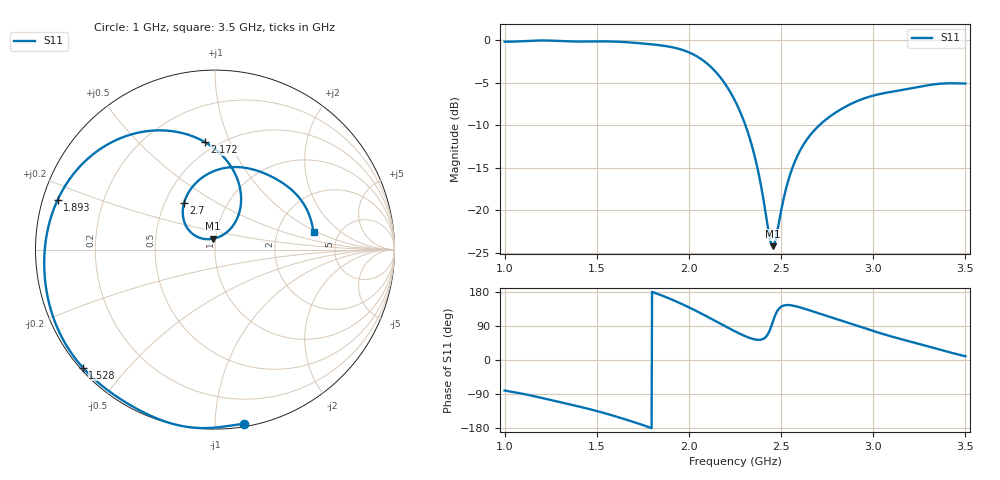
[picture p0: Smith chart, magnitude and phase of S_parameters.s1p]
! TOUCHSTONE file generated by CST MICROWAVE STUDIO
! Date and time: Wed Oct  7 17:58:07 2026
! Project name: antenna.cst
! Parameters = {substrate_tand=0.02; substrate_er=4.4; gap_mm=5; feed_start_x=24.3; series_c_pf=1.8; omit_soldermask=1; coax_pigtail=1; feed_contact_inside=1; explicit_via_pads=1; feed_x=24.85; copper_edge_clearance=0.3; housing_air=0.25; housing_wall=1; shield_extension=0; via_plating_t=0.025; via_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
! Header version: 2024
! Port assignment regex: !\s*Touchstone port\s*([0-9]+)\s*=\s*(CST MWS port|CST DES external port|CST DES block port)\s*(.+)\s* \(\"(.*)\"\)(\s*mode\s*([0-9]+))?.*
! Touchstone port assignment:
! Touchstone port 1 = CST MWS port 1 ("50 ohm edge launch reference")
# GHz S MA R 50
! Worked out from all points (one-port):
!   1001 points, 1 GHz to 3.5 GHz, reference 50 ohm
!   lowest |S11| = -24.3 dB at 2.455 GHz (marker M1), VSWR 1.13, Z = 48.5 + j5.87 ohm
!   |S11| at or under -10 dB: 2.307 GHz to 2.707 GHz (400.7 MHz wide, 16 % of centre)
!   S11 on the Smith chart (normalised r, x): 1 GHz: 0.02, -1.18; 1.528 GHz: 0.01, -0.38; 1.893 GHz: 0.04, +0.15; 2.172 GHz: 0.43, +0.81; 2.7 GHz: 0.63, +0.36; 3.5 GHz: 3.24, +0.91
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1  0.9839 -80.6
1.1725  0.9992 -96.9
1.3125  0.9914 -112.5
1.5275  0.9873 -138.3
1.625  0.9818 -152.2
1.7675  0.9558 -174.6
1.8925  0.9196 162.5
1.9375  0.8974 153.1
2.005  0.8464 137.8
2.0625  0.7819 123.8
2.1175  0.7008 109.7
2.1725  0.6021 95.4
2.25  0.4411 75.6
2.2975  0.3364 64.5
2.35  0.2222 55.1
2.3875  0.1462 53.4
2.4375  0.06928 77.2
2.455  0.0613 100.7
2.47  0.0671 120.4
2.52  0.1248 144.4
2.5625  0.1786 143.6
2.6225  0.2441 136.0
2.7  0.3107 123.8
2.875  0.4206 96.2
3.015  0.4776 74.2
3.1875  0.5178 50.4
3.3625  0.5558 27.2
3.5  0.5573 10.0
